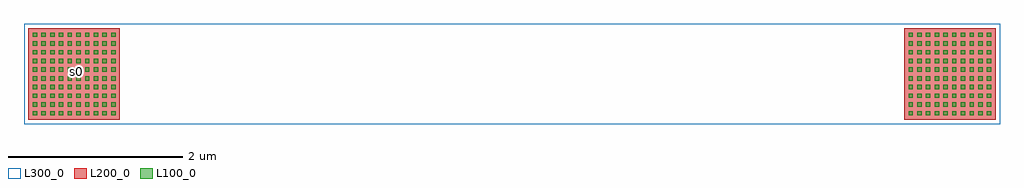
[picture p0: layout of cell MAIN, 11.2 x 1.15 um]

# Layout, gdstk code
import gdstk
lib = gdstk.Library(unit=1e-6, precision=1e-09)
def R(c, l, rs):  # rectangles x0, y0, x1, y1
    for r in rs: c.add(gdstk.rectangle(r[:2], r[2:], *l))
def A(c, l, x, y, w, h, nx, ny, dx, dy):  # array of equal rectangles
    R(c, l, [(x+i*dx, y+j*dy, x+i*dx+w, y+j*dy+h) for i in range(nx) for j in range(ny)])
L100_0 = (100, 0)
L200_0 = (200, 0)
L300_0 = (300, 0)

square_array = lib.new_cell('SQUARE_ARRAY')
A(square_array, L100_0, 0, 0, 0.05, 0.05, 10, 10, 0.1, 0.1)

main = lib.new_cell('MAIN')
R(main, L200_0, [(-0.05,-0.05,1,1), (10,-0.05,11.05,1)])
R(main, L300_0, [(-0.1,-0.1,11.1,1.05)])
main.add(gdstk.Reference(square_array, (0,0)))
main.add(gdstk.Reference(square_array, (10.05,0)))
main.add(gdstk.Label('s0', (0.5,0.5), layer=200, texttype=20))

lib.write_gds('MAIN.gds')
